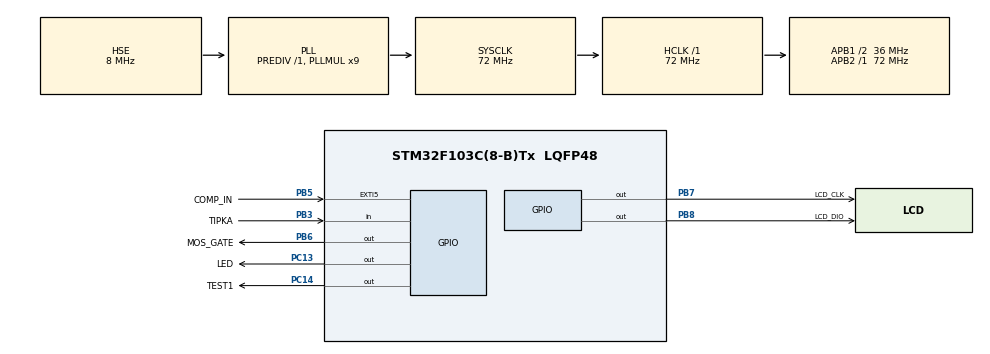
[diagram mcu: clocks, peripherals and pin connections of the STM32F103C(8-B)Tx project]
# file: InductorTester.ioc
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Mcu.Family=STM32F1
PB7.GPIO_PuPd=GPIO_NOPULL
RCC.PLLSourceVirtual=RCC_PLLSOURCE_HSE
PD1-OSC_OUT.Mode=HSE-External-Oscillator
PB8.GPIO_PuPd=GPIO_NOPULL
PC13-TAMPER-RTC.Signal=GPIO_Output
PB6.GPIO_Label=MOS_GATE
PD0-OSC_IN.Signal=RCC_OSC_IN
RCC.APB1CLKDivider=RCC_HCLK_DIV2
PC14-OSC32_IN.Signal=GPIO_Output
RCC.SYSCLKSource=RCC_SYSCLKSOURCE_PLLCLK
ProjectManager.StackSize=0x400
PD1-OSC_OUT.Signal=RCC_OSC_OUT
RCC.ADCPresc=RCC_ADCPCLK2_DIV6
PA13.Signal=SYS_JTMS-SWDIO
PB8.GPIO_Label=LCD_DIO
TIM1.Prescaler=71
ProjectManager.TargetToolchain=STM32CubeIDE
RCC.HCLKFreq_Value=72000000
RCC.APB2TimFreq_Value=72000000
PB6.Signal=GPIO_Output
RCC.USBFreq_Value=72000000
RCC.AHBFreq_Value=72000000
PD0-OSC_IN.Mode=HSE-External-Oscillator
board=custom
PC13-TAMPER-RTC.GPIO_Label=LED
RCC.PLLMUL=RCC_PLL_MUL9
RCC.APB2Freq_Value=72000000
PB3.GPIO_PuPd=GPIO_PULLUP
VP_TIM2_VS_ClockSourceINT.Mode=Internal
PB7.GPIO_ModeDefaultOutputPP=GPIO_MODE_OUTPUT_OD
PA14.Mode=Serial_Wire
PB7.Signal=GPIO_Output
PC13-TAMPER-RTC.GPIO_Speed=GPIO_SPEED_FREQ_HIGH
PA13.Mode=Serial_Wire
Mcu.Name=STM32F103C(8-B)Tx
VP_TIM1_VS_ClockSourceINT.Mode=Internal
PB7.PinState=GPIO_PIN_RESET
PC14-OSC32_IN.GPIO_Speed=GPIO_SPEED_FREQ_HIGH
PB7.GPIO_Label=LCD_CLK
PB3.Signal=GPIO_Input
RCC.SYSCLKFreq_VALUE=72000000
Mcu.Package=LQFP48
PB5.Signal=GPXTI5
TIM2.Prescaler=719
NVIC.EXTI9_5_IRQn=true\:0\:0\:false\:false\:true\:true\:false
PA14.Signal=SYS_JTCK-SWCLK
ProjectManager.HeapSize=0x200
PB8.GPIO_ModeDefaultOutputPP=GPIO_MODE_OUTPUT_OD
NVIC.PriorityGroup=NVIC_PRIORITYGROUP_4
PB5.GPIO_Label=COMP_IN
RCC.APB1TimFreq_Value=72000000
PB8.Signal=GPIO_Output
PC14-OSC32_IN.GPIO_Label=TEST1
TIM1.Period=65535
PB6.GPIO_Speed=GPIO_SPEED_FREQ_HIGH
RCC.APB1Freq_Value=36000000
PB8.GPIO_Speed=GPIO_SPEED_FREQ_HIGH
PB7.GPIO_Speed=GPIO_SPEED_FREQ_HIGH
PB5.GPIO_ModeDefaultEXTI=GPIO_MODE_IT_FALLING
PB3.GPIO_Label=TIPKA

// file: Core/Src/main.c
/* USER CODE BEGIN Header */
/**
  ******************************************************************************
  * @file           : main.c
  * @brief          : Main program body
  ******************************************************************************
  * @attention
  *
  * <h2><center>&copy; Copyright (c) 2021 STMicroelectronics.
  * All rights reserved.</center></h2>
  *
  * This software component is licensed by ST under BSD 3-Clause license,
  * the "License"; You may not use this file except in compliance with the
  * License. You may obtain a copy of the License at:
  *                        opensource.org/licenses/BSD-3-Clause
  *
  ******************************************************************************
  */
/* USER CODE END Header */
#include "main.h"

/* USER CODE BEGIN Includes */
#include "stm32_tm1637.h"
/* USER CODE END Includes */

TIM_HandleTypeDef htim1;
TIM_HandleTypeDef htim2;

/* USER CODE BEGIN PV */
uint32_t test1;
uint32_t PulseCounter;
uint32_t InductorConnected;
uint32_t ShowInductance;
uint32_t Inductance_uH;
uint32_t Inductance_mH;

uint32_t watch1,watch2,watch3,watch4;
/* USER CODE END PV */

void SystemClock_Config(void);
static void MX_GPIO_Init(void);
static void MX_TIM1_Init(void);
static void MX_TIM2_Init(void);

int main(void)
{

  /* MCU Configuration--------------------------------------------------------*/

  /* Reset of all peripherals, Initializes the Flash interface and the Systick. */
  HAL_Init();

  /* Configure the system clock */
  SystemClock_Config();

  /* Initialize all configured peripherals */
  MX_GPIO_Init();
  MX_TIM1_Init();
  MX_TIM2_Init();
  /* USER CODE BEGIN 2 */
  HAL_NVIC_DisableIRQ(EXTI9_5_IRQn); //Disable on start

  tm1637Init();
  // Optionally set brightness. 0 is off. By default, initialized to full brightness.
  tm1637SetBrightness(4);

  /* USER CODE END 2 */

  /* Infinite loop */
  while (1)
  {

    /* USER CODE BEGIN 3 */
	HAL_GPIO_TogglePin(LED_GPIO_Port, LED_Pin);
	ShowInductance=!HAL_GPIO_ReadPin(TIPKA_GPIO_Port,TIPKA_Pin);

	if(InductorConnected)
	{
		if(ShowInductance==0)tm1637DisplayDecimal(PulseCounter, 0,0,0,0);
		else
			{
				if(Inductance_uH > 9999)
				{
					Inductance_mH=Inductance_uH/1000;
					tm1637DisplayDecimal(Inductance_mH,0,0,0,1);//extra dot at the end to indicate mH
				}
				else
				{
					tm1637DisplayDecimal(Inductance_uH, 0,0,0,0);//display uH value
				}
			}
	}
	else
	{
		tm1637DisplayDecimal(0,1,1,1,1);
	}
	HAL_Delay(100);
  }
  /* USER CODE END 3 */
}

void SystemClock_Config(void)
{
  RCC_OscInitTypeDef RCC_OscInitStruct = {0};
  RCC_ClkInitTypeDef RCC_ClkInitStruct = {0};

  /** Initializes the RCC Oscillators according to the specified parameters
  * in the RCC_OscInitTypeDef structure.
  */
  RCC_OscInitStruct.OscillatorType = RCC_OSCILLATORTYPE_HSE;
  RCC_OscInitStruct.HSEState = RCC_HSE_ON;
  RCC_OscInitStruct.HSEPredivValue = RCC_HSE_PREDIV_DIV1;
  RCC_OscInitStruct.HSIState = RCC_HSI_ON;
  RCC_OscInitStruct.PLL.PLLState = RCC_PLL_ON;
  RCC_OscInitStruct.PLL.PLLSource = RCC_PLLSOURCE_HSE;
  RCC_OscInitStruct.PLL.PLLMUL = RCC_PLL_MUL9;
  if (HAL_RCC_OscConfig(&RCC_OscInitStruct) != HAL_OK)
  {
    Error_Handler();
  }
  /** Initializes the CPU, AHB and APB buses clocks
  */
  RCC_ClkInitStruct.ClockType = RCC_CLOCKTYPE_HCLK|RCC_CLOCKTYPE_SYSCLK
                              |RCC_CLOCKTYPE_PCLK1|RCC_CLOCKTYPE_PCLK2;
  RCC_ClkInitStruct.SYSCLKSource = RCC_SYSCLKSOURCE_PLLCLK;
  RCC_ClkInitStruct.AHBCLKDivider = RCC_SYSCLK_DIV1;
  RCC_ClkInitStruct.APB1CLKDivider = RCC_HCLK_DIV2;
  RCC_ClkInitStruct.APB2CLKDivider = RCC_HCLK_DIV1;

  if (HAL_RCC_ClockConfig(&RCC_ClkInitStruct, FLASH_LATENCY_2) != HAL_OK)
  {
    Error_Handler();
  }
}

static void MX_TIM1_Init(void)
{

  TIM_ClockConfigTypeDef sClockSourceConfig = {0};
  TIM_MasterConfigTypeDef sMasterConfig = {0};

  htim1.Instance = TIM1;
  htim1.Init.Prescaler = 71;
  htim1.Init.CounterMode = TIM_COUNTERMODE_UP;
  htim1.Init.Period = 65535;
  htim1.Init.ClockDivision = TIM_CLOCKDIVISION_DIV1;
  htim1.Init.RepetitionCounter = 0;
  htim1.Init.AutoReloadPreload = TIM_AUTORELOAD_PRELOAD_DISABLE;
  if (HAL_TIM_Base_Init(&htim1) != HAL_OK)
  {
    Error_Handler();
  }
  sClockSourceConfig.ClockSource = TIM_CLOCKSOURCE_INTERNAL;
  if (HAL_TIM_ConfigClockSource(&htim1, &sClockSourceConfig) != HAL_OK)
  {
    Error_Handler();
  }
  sMasterConfig.MasterOutputTrigger = TIM_TRGO_RESET;
  sMasterConfig.MasterSlaveMode = TIM_MASTERSLAVEMODE_DISABLE;
  if (HAL_TIMEx_MasterConfigSynchronization(&htim1, &sMasterConfig) != HAL_OK)
  {
    Error_Handler();
  }

}

static void MX_TIM2_Init(void)
{

  TIM_ClockConfigTypeDef sClockSourceConfig = {0};
  TIM_MasterConfigTypeDef sMasterConfig = {0};

  htim2.Instance = TIM2;
  htim2.Init.Prescaler = 719;
  htim2.Init.CounterMode = TIM_COUNTERMODE_UP;
  htim2.Init.Period = 65535;
  htim2.Init.ClockDivision = TIM_CLOCKDIVISION_DIV1;
  htim2.Init.AutoReloadPreload = TIM_AUTORELOAD_PRELOAD_DISABLE;
  if (HAL_TIM_Base_Init(&htim2) != HAL_OK)
  {
    Error_Handler();
  }
  sClockSourceConfig.ClockSource = TIM_CLOCKSOURCE_INTERNAL;
  if (HAL_TIM_ConfigClockSource(&htim2, &sClockSourceConfig) != HAL_OK)
  {
    Error_Handler();
  }
  sMasterConfig.MasterOutputTrigger = TIM_TRGO_RESET;
  sMasterConfig.MasterSlaveMode = TIM_MASTERSLAVEMODE_DISABLE;
  if (HAL_TIMEx_MasterConfigSynchronization(&htim2, &sMasterConfig) != HAL_OK)
  {
    Error_Handler();
  }

}

static void MX_GPIO_Init(void)
{
  GPIO_InitTypeDef GPIO_InitStruct = {0};

  /* GPIO Ports Clock Enable */
  __HAL_RCC_GPIOC_CLK_ENABLE();
  __HAL_RCC_GPIOD_CLK_ENABLE();
  __HAL_RCC_GPIOA_CLK_ENABLE();
  __HAL_RCC_GPIOB_CLK_ENABLE();

  /*Configure GPIO pin Output Level */
  HAL_GPIO_WritePin(GPIOC, LED_Pin|TEST1_Pin, GPIO_PIN_RESET);

  /*Configure GPIO pin Output Level */
  HAL_GPIO_WritePin(GPIOB, MOS_GATE_Pin|LCD_CLK_Pin|LCD_DIO_Pin, GPIO_PIN_RESET);

  /*Configure GPIO pins : LED_Pin TEST1_Pin */
  GPIO_InitStruct.Pin = LED_Pin|TEST1_Pin;
  GPIO_InitStruct.Mode = GPIO_MODE_OUTPUT_PP;
  GPIO_InitStruct.Pull = GPIO_NOPULL;
  GPIO_InitStruct.Speed = GPIO_SPEED_FREQ_HIGH;
  HAL_GPIO_Init(GPIOC, &GPIO_InitStruct);

  /*Configure GPIO pin : TIPKA_Pin */
  GPIO_InitStruct.Pin = TIPKA_Pin;
  GPIO_InitStruct.Mode = GPIO_MODE_INPUT;
  GPIO_InitStruct.Pull = GPIO_PULLUP;
  HAL_GPIO_Init(TIPKA_GPIO_Port, &GPIO_InitStruct);

  /*Configure GPIO pin : COMP_IN_Pin */
  GPIO_InitStruct.Pin = COMP_IN_Pin;
  GPIO_InitStruct.Mode = GPIO_MODE_IT_FALLING;
  GPIO_InitStruct.Pull = GPIO_NOPULL;
  HAL_GPIO_Init(COMP_IN_GPIO_Port, &GPIO_InitStruct);

  /*Configure GPIO pin : MOS_GATE_Pin */
  GPIO_InitStruct.Pin = MOS_GATE_Pin;
  GPIO_InitStruct.Mode = GPIO_MODE_OUTPUT_PP;
  GPIO_InitStruct.Pull = GPIO_NOPULL;
  GPIO_InitStruct.Speed = GPIO_SPEED_FREQ_HIGH;
  HAL_GPIO_Init(MOS_GATE_GPIO_Port, &GPIO_InitStruct);

  /*Configure GPIO pins : LCD_CLK_Pin LCD_DIO_Pin */
  GPIO_InitStruct.Pin = LCD_CLK_Pin|LCD_DIO_Pin;
  GPIO_InitStruct.Mode = GPIO_MODE_OUTPUT_OD;
  GPIO_InitStruct.Pull = GPIO_NOPULL;
  GPIO_InitStruct.Speed = GPIO_SPEED_FREQ_HIGH;
  HAL_GPIO_Init(GPIOB, &GPIO_InitStruct);

  /* EXTI interrupt init*/
  HAL_NVIC_SetPriority(EXTI9_5_IRQn, 0, 0);
  HAL_NVIC_EnableIRQ(EXTI9_5_IRQn);

}

void Error_Handler(void)
{
  __disable_irq();
  while (1)
  {
  }
}

/************************ (C) COPYRIGHT STMicroelectronics *****END OF FILE****/
